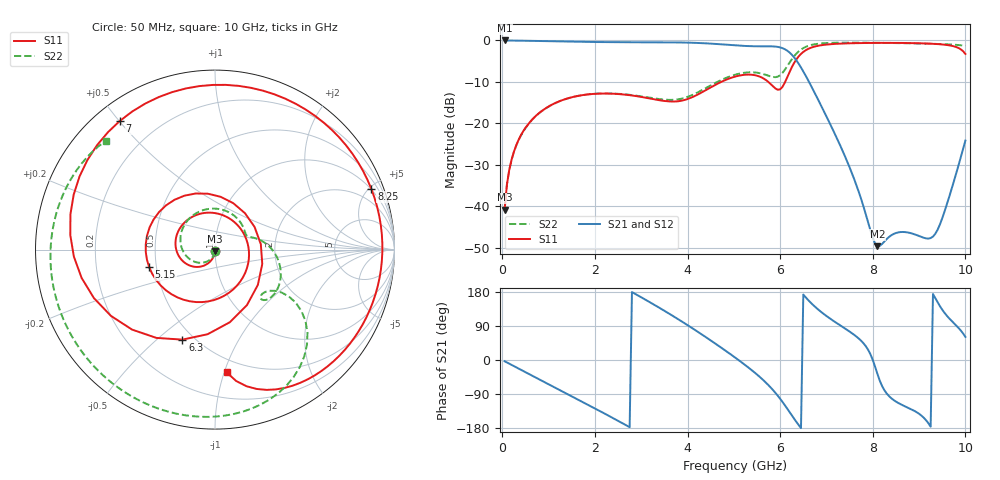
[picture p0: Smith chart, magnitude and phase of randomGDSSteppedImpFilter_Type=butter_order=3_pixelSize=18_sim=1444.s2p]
! freq	dB(S11)	phase(S11)	dB(S12)	phase(S12)
!  dB(S21)	phase(S21)	dB(S22)	phase(S22)
!S-par simulation data
#  GHz  S  DB  R 50
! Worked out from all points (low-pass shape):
!   200 points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, 50 MHz to 10 GHz, reference 50 ohm
!   highest |S21| = -0.01 dB at 50 MHz (marker M1); lowest = -49.6 dB at 8.1 GHz (marker M2)
!   |S21| within 3 dB of the highest: start of sweep to 6.211 GHz
!   lowest |S11| = -40.8 dB at 50 MHz (marker M3), VSWR 1.02, Z = 50 - j0.911 ohm
!   |S11| at or under -10 dB: start of sweep to 4.729 GHz; 5.743 GHz to 6.108 GHz (364.8 MHz wide, 6.16 % of centre)
!   |S22| runs from -40.8 to -0.5 dB; largest |S21 - S12| = 0
!   S11 on the Smith chart (normalised r, x): 50 MHz: 1.00, -0.02; 5.15 GHz: 0.46, -0.10; 6.3 GHz: 0.43, -0.61; 7 GHz: 0.07, +0.50; 8.25 GHz: 0.97, +5.16; 10 GHz: 0.39, -1.02
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0.05  -40.81 -90.9  -0.01 -3.3  -0.01 -3.3  -40.79 -91.8
0.2  -28.79 -100.7  -0.03 -12.9  -0.03 -12.9  -28.82 -104.6
0.5  -21.09 -117.7  -0.08 -32.1  -0.08 -32.1  -21.15 -127.4
1.15  -15.07 -152.7  -0.23 -73.5  -0.23 -73.5  -15.08 -175.8
1.75  -13.16 175.7  -0.35 -111.7  -0.35 -111.7  -13.16 139.4
2.65  -13.08 124.0  -0.43 -170.6  -0.43 -170.6  -13.01 73.9
3.4  -14.44 61.3  -0.45 137.2  -0.45 137.2  -14.16 32.9
4.2  -13.17 -44.9  -0.60 76.2  -0.60 76.2  -12.65 15.8
5.05  -8.66 -152.6  -1.20 4.5  -1.20 4.5  -8.20 -19.5
5.15  -8.41 -165.1  -1.28 -4.5  -1.28 -4.5  -7.94 -24.7
5.85  -11.12 68.5  -1.44 -79.9  -1.44 -79.9  -8.83 -45.0
6.1  -10.19 -39.5  -2.11 -119.1  -2.11 -119.1  -7.10 -32.8
6.3  -5.46 -109.9  -4.07 -154.7  -4.07 -154.7  -3.83 -38.4
6.5  -2.77 -158.2  -7.48 172.7  -7.48 172.7  -1.85 -54.3
6.7  -1.63 166.3  -11.65 146.4  -11.65 146.4  -1.02 -70.1
7  -1.00 126.5  -18.34 116.1  -18.34 116.1  -0.63 -89.4
7.45  -0.71 81.8  -29.27 79.1  -29.27 79.1  -0.53 -112.2
8.1  -0.59 31.4  -49.63 -36.7  -49.63 -36.7  -0.58 -139.6
8.25  -0.59 21.2  -48.51 -79.6  -48.51 -79.6  -0.60 -145.5
8.35  -0.59 14.7  -47.41 -95.2  -47.41 -95.2  -0.61 -149.5
9.35  -0.84 -43.3  -46.65 163.2  -46.65 163.2  -0.83 169.5
10  -3.26 -84.6  -24.17 60.9  -24.17 60.9  -1.32 135.2
